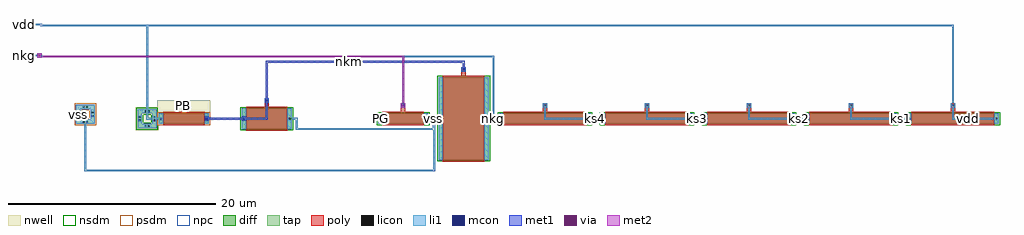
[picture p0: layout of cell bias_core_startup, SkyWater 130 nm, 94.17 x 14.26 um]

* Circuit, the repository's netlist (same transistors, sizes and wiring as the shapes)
* extracted by klt extract --deck sky130

* cell bias_core_startup
* pin PB
* pin PG
* pin ks1
* pin ks2
* pin ks3
* pin ks4
* pin nkg
* pin nkm
* pin vdd
* pin vss
.SUBCKT bias_core_startup PB PG ks1 ks2 ks3 ks4 nkg nkm vdd vss
* device instance $1 r0 *1 -3.42,4 nfet
M$1 vss nkg PG vss nfet L=4U W=1U AS=0.42P AD=0.42P PS=2.84U PD=2.84U
* device instance $2 r0 *1 10.26,4 nfet
M$2 ks4 ks4 nkg vss nfet L=8U W=1U AS=0.42P AD=0.42P PS=2.84U PD=2.84U
* device instance $3 r0 *1 20.1,4 nfet
M$3 ks3 ks3 ks4 vss nfet L=8U W=1U AS=0.42P AD=0.42P PS=2.84U PD=2.84U
* device instance $4 r0 *1 29.94,4 nfet
M$4 ks2 ks2 ks3 vss nfet L=8U W=1U AS=0.42P AD=0.42P PS=2.84U PD=2.84U
* device instance $5 r0 *1 39.78,4 nfet
M$5 ks1 ks1 ks2 vss nfet L=8U W=1U AS=0.42P AD=0.42P PS=2.84U PD=2.84U
* device instance $6 r0 *1 49.62,4 nfet
M$6 vdd vdd ks1 vss nfet L=8U W=1U AS=0.42P AD=0.42P PS=2.84U PD=2.84U
* device instance $7 r0 *1 -16.58,4 nfet
M$7 vss nkm nkm vss nfet L=4U W=2U AS=0.84P AD=0.84P PS=4.84U PD=4.84U
* device instance $8 r0 *1 2.42,4 nfet
M$8 nkg nkm vss vss nfet L=4U W=8U AS=3.36P AD=3.36P PS=16.84U PD=16.84U
* device instance $9 r0 *1 -24.58,4 pfet
M$9 nkm PB vdd vdd pfet L=4U W=1U AS=0.42P AD=0.42P PS=2.84U PD=2.84U
.ENDS bias_core_startup

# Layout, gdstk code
from math import pi, radians
import gdstk
lib = gdstk.Library(unit=1e-6, precision=1e-09)
def R(c, l, rs):  # rectangles x0, y0, x1, y1
    for r in rs: c.add(gdstk.rectangle(r[:2], r[2:], *l))
def A(c, l, x, y, w, h, nx, ny, dx, dy):  # array of equal rectangles
    R(c, l, [(x+i*dx, y+j*dy, x+i*dx+w, y+j*dy+h) for i in range(nx) for j in range(ny)])
def P(c, l, *ps):  # polygons
    for p in ps: c.add(gdstk.Polygon(p, *l))
nwell = (64, 20)
diff = (65, 20)
tap = (65, 44)
poly = (66, 20)
licon = (66, 44)
li1 = (67, 20)
mcon = (67, 44)
met1 = (68, 20)
via = (68, 44)
met2 = (69, 20)
nsdm = (93, 44)
psdm = (94, 20)
npc = (95, 20)

kpd__core = lib.new_cell('kpd__core')
R(kpd__core, diff, [(0,0,4.84,8)])
R(kpd__core, poly, [(0.42,-0.15,4.42,8), (0.42,8,4.42,8.15), (0.42,8,4.42,8.15), (2.21,8.15,2.63,8.97)])
R(kpd__core, licon, [(0.125,3.915,0.295,4.085), (4.545,3.915,4.715,4.085), (2.335,8.675,2.505,8.845)])
R(kpd__core, li1, [(0,0,0.42,8), (4.42,0,4.84,8), (2.21,8.55,2.63,8.97)])
R(kpd__core, nsdm, [(-0.125,-0.125,4.965,8.125)])
R(kpd__core, npc, [(2.235,8.575,2.605,8.945)])

kpd__kpd = lib.new_cell('kpd__kpd')
kpd__kpd.add(gdstk.Reference(kpd__core, (0,0)))

ks4__core = lib.new_cell('ks4__core')
R(ks4__core, diff, [(0,0,8.84,1)])
R(ks4__core, poly, [(0.42,-0.15,8.42,1), (0.42,1,8.42,1.15), (0.42,1,8.42,1.15), (4.21,1.15,4.63,1.97)])
R(ks4__core, licon, [(0.125,0.415,0.295,0.585), (8.545,0.415,8.715,0.585), (4.335,1.675,4.505,1.845)])
R(ks4__core, li1, [(0,0,0.42,1), (8.42,0,8.84,1), (4.21,1.55,4.63,1.97)])
R(ks4__core, nsdm, [(-0.125,-0.125,8.965,1.125)])
R(ks4__core, npc, [(4.235,1.575,4.605,1.945)])

ks4__ks4 = lib.new_cell('ks4__ks4')
ks4__ks4.add(gdstk.Reference(ks4__core, (0,0)))

ks3__core = lib.new_cell('ks3__core')
R(ks3__core, diff, [(0,0,8.84,1)])
R(ks3__core, poly, [(0.42,-0.15,8.42,1), (0.42,1,8.42,1.15), (0.42,1,8.42,1.15), (4.21,1.15,4.63,1.97)])
R(ks3__core, licon, [(0.125,0.415,0.295,0.585), (8.545,0.415,8.715,0.585), (4.335,1.675,4.505,1.845)])
R(ks3__core, li1, [(0,0,0.42,1), (8.42,0,8.84,1), (4.21,1.55,4.63,1.97)])
R(ks3__core, nsdm, [(-0.125,-0.125,8.965,1.125)])
R(ks3__core, npc, [(4.235,1.575,4.605,1.945)])

ks3__ks3 = lib.new_cell('ks3__ks3')
ks3__ks3.add(gdstk.Reference(ks3__core, (0,0)))

ks2__core = lib.new_cell('ks2__core')
R(ks2__core, diff, [(0,0,8.84,1)])
R(ks2__core, poly, [(0.42,-0.15,8.42,1), (0.42,1,8.42,1.15), (0.42,1,8.42,1.15), (4.21,1.15,4.63,1.97)])
R(ks2__core, licon, [(0.125,0.415,0.295,0.585), (8.545,0.415,8.715,0.585), (4.335,1.675,4.505,1.845)])
R(ks2__core, li1, [(0,0,0.42,1), (8.42,0,8.84,1), (4.21,1.55,4.63,1.97)])
R(ks2__core, nsdm, [(-0.125,-0.125,8.965,1.125)])
R(ks2__core, npc, [(4.235,1.575,4.605,1.945)])

ks2__ks2 = lib.new_cell('ks2__ks2')
ks2__ks2.add(gdstk.Reference(ks2__core, (0,0)))

ks1__core = lib.new_cell('ks1__core')
R(ks1__core, diff, [(0,0,8.84,1)])
R(ks1__core, poly, [(0.42,-0.15,8.42,1), (0.42,1,8.42,1.15), (0.42,1,8.42,1.15), (4.21,1.15,4.63,1.97)])
R(ks1__core, licon, [(0.125,0.415,0.295,0.585), (8.545,0.415,8.715,0.585), (4.335,1.675,4.505,1.845)])
R(ks1__core, li1, [(0,0,0.42,1), (8.42,0,8.84,1), (4.21,1.55,4.63,1.97)])
R(ks1__core, nsdm, [(-0.125,-0.125,8.965,1.125)])
R(ks1__core, npc, [(4.235,1.575,4.605,1.945)])

ks1__ks1 = lib.new_cell('ks1__ks1')
ks1__ks1.add(gdstk.Reference(ks1__core, (0,0)))

ks0__core = lib.new_cell('ks0__core')
R(ks0__core, diff, [(0,0,8.84,1)])
R(ks0__core, poly, [(0.42,-0.15,8.42,1), (0.42,1,8.42,1.15), (0.42,1,8.42,1.15), (4.21,1.15,4.63,1.97)])
R(ks0__core, licon, [(0.125,0.415,0.295,0.585), (8.545,0.415,8.715,0.585), (4.335,1.675,4.505,1.845)])
R(ks0__core, li1, [(0,0,0.42,1), (8.42,0,8.84,1), (4.21,1.55,4.63,1.97)])
R(ks0__core, nsdm, [(-0.125,-0.125,8.965,1.125)])
R(ks0__core, npc, [(4.235,1.575,4.605,1.945)])

ks0__ks0 = lib.new_cell('ks0__ks0')
ks0__ks0.add(gdstk.Reference(ks0__core, (0,0)))

kick__core = lib.new_cell('kick__core')
R(kick__core, diff, [(0,0,4.84,1)])
R(kick__core, poly, [(0.42,-0.15,4.42,1), (0.42,1,4.42,1.15), (0.42,1,4.42,1.15), (2.21,1.15,2.63,1.97)])
R(kick__core, licon, [(0.125,0.415,0.295,0.585), (4.545,0.415,4.715,0.585), (2.335,1.675,2.505,1.845)])
R(kick__core, li1, [(0,0,0.42,1), (4.42,0,4.84,1), (2.21,1.55,2.63,1.97)])
R(kick__core, nsdm, [(-0.125,-0.125,4.965,1.125)])
R(kick__core, npc, [(2.235,1.575,2.605,1.945)])

kick__kick = lib.new_cell('kick__kick')
kick__kick.add(gdstk.Reference(kick__core, (0,0)))

kan__core = lib.new_cell('kan__core')
R(kan__core, diff, [(0,0,4.84,2)])
R(kan__core, poly, [(0.42,-0.15,4.42,2), (0.42,2,4.42,2.15), (0.42,2,4.42,2.15), (2.21,2.15,2.63,2.97)])
R(kan__core, licon, [(0.125,0.915,0.295,1.085), (4.545,0.915,4.715,1.085), (2.335,2.675,2.505,2.845)])
R(kan__core, li1, [(0,0,0.42,2), (4.42,0,4.84,2), (2.21,2.55,2.63,2.97)])
R(kan__core, nsdm, [(-0.125,-0.125,4.965,2.125)])
R(kan__core, npc, [(2.235,2.575,2.605,2.945)])

kan__kan = lib.new_cell('kan__kan')
kan__kan.add(gdstk.Reference(kan__core, (0,0)))

ka__core = lib.new_cell('ka__core')
R(ka__core, nwell, [(-0.15,-0.15,4.99,2.27)])
R(ka__core, diff, [(0,0,4.84,1)])
R(ka__core, poly, [(0.42,-0.15,4.42,1), (0.42,1,4.42,1.15), (0.42,1,4.42,1.15), (2.21,1.15,2.63,1.97)])
R(ka__core, licon, [(0.125,0.415,0.295,0.585), (4.545,0.415,4.715,0.585), (2.335,1.675,2.505,1.845)])
R(ka__core, li1, [(0,0,0.42,1), (4.42,0,4.84,1), (2.21,1.55,2.63,1.97)])
R(ka__core, psdm, [(-0.125,-0.125,4.965,1.125)])
R(ka__core, npc, [(2.235,1.575,2.605,1.945)])

ka__ka = lib.new_cell('ka__ka')
ka__ka.add(gdstk.Reference(ka__core, (0,0)))

nwell_tap__core = lib.new_cell('nwell_tap__core')
R(nwell_tap__core, nwell, [(-0.2,-0.2,2.04,2.04)])
P(nwell_tap__core, tap, [(0,0),(0,1.42),(0.42,1.42),(0.42,0.42),(1.42,0.42),(1.42,1.42),(0,1.42),(0,1.84),(1.84,1.84),(1.84,0)])
R(nwell_tap__core, licon, [(0.67,0.125,0.84,0.295), (1,0.125,1.17,0.295), (0.125,0.67,0.295,0.84), (1.545,0.67,1.715,0.84), (0.125,1,0.295,1.17), (1.545,1,1.715,1.17), (0.67,1.545,0.84,1.715), (1,1.545,1.17,1.715)])
P(nwell_tap__core, li1, [(0,0),(0,1.42),(0.42,1.42),(0.42,0.42),(1.42,0.42),(1.42,1.42),(0,1.42),(0,1.84),(1.84,1.84),(1.84,0)])
P(nwell_tap__core, nsdm, [(-0.125,-0.125),(-0.125,1.295),(0.545,1.295),(0.545,0.545),(1.295,0.545),(1.295,1.295),(-0.125,1.295),(-0.125,1.965),(1.965,1.965),(1.965,-0.125)])

nwell_tap__nwell_tap = lib.new_cell('nwell_tap__nwell_tap')
nwell_tap__nwell_tap.add(gdstk.Reference(nwell_tap__core, (0,0)))

psub_tap__core = lib.new_cell('psub_tap__core')
P(psub_tap__core, tap, [(0,0),(0,1.42),(0.42,1.42),(0.42,0.42),(1.42,0.42),(1.42,1.42),(0,1.42),(0,1.84),(1.84,1.84),(1.84,0)])
R(psub_tap__core, licon, [(0.67,0.125,0.84,0.295), (1,0.125,1.17,0.295), (0.125,0.67,0.295,0.84), (1.545,0.67,1.715,0.84), (0.125,1,0.295,1.17), (1.545,1,1.715,1.17), (0.67,1.545,0.84,1.715), (1,1.545,1.17,1.715)])
P(psub_tap__core, li1, [(0,0),(0,1.42),(0.42,1.42),(0.42,0.42),(1.42,0.42),(1.42,1.42),(0,1.42),(0,1.84),(1.84,1.84),(1.84,0)])
P(psub_tap__core, psdm, [(-0.125,-0.125),(-0.125,1.295),(0.545,1.295),(0.545,0.545),(1.295,0.545),(1.295,1.295),(-0.125,1.295),(-0.125,1.965),(1.965,1.965),(1.965,-0.125)])

psub_tap__psub_tap = lib.new_cell('psub_tap__psub_tap')
psub_tap__psub_tap.add(gdstk.Reference(psub_tap__core, (0,0)))

stub_vdd__promo_stub = lib.new_cell('stub_vdd__promo_stub')
R(stub_vdd__promo_stub, li1, [(0,0,1.5,0.17)])

stub_nkg__promo_stub = lib.new_cell('stub_nkg__promo_stub')
R(stub_nkg__promo_stub, li1, [(0,0,1.5,0.17)])

bias_core_startup = lib.new_cell('bias_core_startup')
A(bias_core_startup, li1, 10.05, 5.26, 0.42, 0.17, 5, 1, 9.84, 0)
R(bias_core_startup, li1, [(-34.29,3.54,-33.87,3.71), (-22.58,3.79,-22.16,4.21), (-19,3.79,-18.58,4.21), (-19,3.79,-18.58,4.21), (-28.33,4.71,-27.91,4.88), (-28.33,4.71,-27.91,4.88), (-28.33,4.71,-27.91,4.88), (-3.63,5.05,-3.21,5.47), (-3.63,5.26,-3.21,5.43), (49.41,5.26,49.83,5.43), (-16.79,5.55,-16.37,5.97), (-16.79,5.55,-16.37,5.97), (2.21,8.55,2.63,8.97), (-38.71,9.875,-38.29,10.295)])
R(bias_core_startup, mcon, [(-22.455,3.915,-22.285,4.085), (-18.875,3.915,-18.705,4.085), (-18.875,3.915,-18.705,4.085), (-3.505,5.175,-3.335,5.345), (-16.665,5.675,-16.495,5.845), (-16.665,5.675,-16.495,5.845), (2.335,8.675,2.505,8.845), (-38.585,10,-38.415,10.17)])
R(bias_core_startup, met1, [(-22.58,3.79,-22.16,4.21), (-19,3.79,-18.58,4.21), (-19,3.79,-18.58,4.21), (-3.63,5.05,-3.21,5.47), (-3.63,5.05,-3.21,5.47), (-16.79,5.55,-16.37,5.97), (-16.79,5.55,-16.37,5.97), (2.21,8.55,2.63,8.97), (-38.71,9.875,-38.29,10.295), (-38.71,9.875,-38.29,10.295)])
R(bias_core_startup, via, [(-3.495,5.185,-3.345,5.335), (-38.575,10.01,-38.425,10.16)])
R(bias_core_startup, met2, [(-3.63,5.05,-3.21,5.47), (-38.71,9.875,-38.29,10.295)])
bias_core_startup.add(gdstk.FlexPath([(53.83,4),(49.62,4),(49.62,5.26)], 0.17, ends="flush", simple_path=True, layer=67, datatype=20))  # li1
bias_core_startup.add(gdstk.FlexPath([(-26.79,4),(-27.41,4)], 0.17, ends="flush", simple_path=True, layer=67, datatype=20))  # li1
bias_core_startup.add(gdstk.FlexPath([(-28.12,4.71),(-28.12,13),(49.62,13),(49.62,5.26)], 0.17, ends="flush", simple_path=True, layer=67, datatype=20))  # li1
bias_core_startup.add(gdstk.FlexPath([(-28.12,4.71),(-28.12,13),(-38.33,13),(-38.33,13.085),(-38.5,13.085)], 0.17, ends="flush", simple_path=True, layer=67, datatype=20))  # li1
bias_core_startup.add(gdstk.FlexPath([(-27.41,4),(-28.12,4),(-28.12,4.71)], 0.17, ends="flush", simple_path=True, layer=67, datatype=20))  # li1
bias_core_startup.add(gdstk.FlexPath([(45.41,4),(43.99,4)], 0.17, ends="flush", simple_path=True, layer=67, datatype=20))  # li1
bias_core_startup.add(gdstk.FlexPath([(43.99,4),(39.78,4),(39.78,5.26)], 0.17, ends="flush", simple_path=True, layer=67, datatype=20))  # li1
bias_core_startup.add(gdstk.FlexPath([(35.57,4),(34.15,4)], 0.17, ends="flush", simple_path=True, layer=67, datatype=20))  # li1
bias_core_startup.add(gdstk.FlexPath([(34.15,4),(29.94,4),(29.94,5.26)], 0.17, ends="flush", simple_path=True, layer=67, datatype=20))  # li1
bias_core_startup.add(gdstk.FlexPath([(25.73,4),(24.31,4)], 0.17, ends="flush", simple_path=True, layer=67, datatype=20))  # li1
bias_core_startup.add(gdstk.FlexPath([(24.31,4),(20.1,4),(20.1,5.26)], 0.17, ends="flush", simple_path=True, layer=67, datatype=20))  # li1
bias_core_startup.add(gdstk.FlexPath([(15.89,4),(14.47,4)], 0.17, ends="flush", simple_path=True, layer=67, datatype=20))  # li1
bias_core_startup.add(gdstk.FlexPath([(14.47,4),(10.26,4),(10.26,5.26)], 0.17, ends="flush", simple_path=True, layer=67, datatype=20))  # li1
bias_core_startup.add(gdstk.FlexPath([(6.05,4),(4.63,4)], 0.17, ends="flush", simple_path=True, layer=67, datatype=20))  # li1
bias_core_startup.add(gdstk.FlexPath([(-3.42,5.26),(-3.42,10),(5.3,10),(5.3,4),(4.63,4)], 0.17, ends="flush", simple_path=True, layer=67, datatype=20))  # li1
bias_core_startup.add(gdstk.FlexPath([(-1.21,4),(0.21,4)], 0.17, ends="flush", simple_path=True, layer=67, datatype=20))  # li1
bias_core_startup.add(gdstk.FlexPath([(-34.08,3.71),(-34.08,-1),(-0.42,-1),(-0.42,4),(0.21,4)], 0.17, ends="flush", simple_path=True, layer=67, datatype=20))  # li1
bias_core_startup.add(gdstk.FlexPath([(0.21,4),(-0.465,4),(-0.465,3.01),(-13.695,3.01),(-13.695,4),(-14.37,4)], 0.17, ends="flush", simple_path=True, layer=67, datatype=20))  # li1
bias_core_startup.add(gdstk.FlexPath([(-3.42,5.26),(-3.42,10),(-38.33,10),(-38.33,10.085),(-38.5,10.085)], 0.17, ends="flush", simple_path=True, layer=69, datatype=20))  # met2
bias_core_startup.add(gdstk.FlexPath([(2.42,8.76),(2.42,9.5),(-16.58,9.5),(-16.58,5.76)], 0.17, ends="flush", simple_path=True, layer=68, datatype=20))  # met1
bias_core_startup.add(gdstk.FlexPath([(-18.79,4),(-16.58,4),(-16.58,5.76)], 0.17, ends="flush", simple_path=True, layer=68, datatype=20))  # met1
bias_core_startup.add(gdstk.FlexPath([(-18.79,4),(-22.37,4)], 0.17, ends="flush", simple_path=True, layer=68, datatype=20))  # met1
bias_core_startup.add(gdstk.Reference(kpd__kpd, (0,0)))
bias_core_startup.add(gdstk.Reference(ks4__ks4, (5.84,3.5)))
bias_core_startup.add(gdstk.Reference(ks3__ks3, (15.68,3.5)))
bias_core_startup.add(gdstk.Reference(ks2__ks2, (25.52,3.5)))
bias_core_startup.add(gdstk.Reference(ks1__ks1, (35.36,3.5)))
bias_core_startup.add(gdstk.Reference(ks0__ks0, (45.2,3.5)))
bias_core_startup.add(gdstk.Reference(kick__kick, (-1,3.5), rotation=pi, x_reflection=True))
bias_core_startup.add(gdstk.Reference(kan__kan, (-14.16,3), rotation=pi, x_reflection=True))
bias_core_startup.add(gdstk.Reference(ka__ka, (-27,3.5)))
bias_core_startup.add(gdstk.Reference(nwell_tap__nwell_tap, (-29.04,3.08)))
bias_core_startup.add(gdstk.Reference(psub_tap__psub_tap, (-35,3.5)))
bias_core_startup.add(gdstk.Reference(stub_vdd__promo_stub, (-40,13)))
bias_core_startup.add(gdstk.Reference(stub_nkg__promo_stub, (-40,10)))
bias_core_startup.add(gdstk.Label('vdd', (51.095,4), layer=67, texttype=5))
bias_core_startup.add(gdstk.Label('ks1', (44.7,4), layer=67, texttype=5))
bias_core_startup.add(gdstk.Label('ks2', (34.86,4), layer=67, texttype=5))
bias_core_startup.add(gdstk.Label('ks3', (25.02,4), layer=67, texttype=5))
bias_core_startup.add(gdstk.Label('ks4', (15.18,4), layer=67, texttype=5))
bias_core_startup.add(gdstk.Label('nkg', (5.34,4), layer=67, texttype=5))
bias_core_startup.add(gdstk.Label('vss', (-0.5,4), layer=67, texttype=5))
bias_core_startup.add(gdstk.Label('PB', (-24.58,5.26), layer=67, texttype=5))
bias_core_startup.add(gdstk.Label('PG', (-5.63,4), layer=67, texttype=5))
bias_core_startup.add(gdstk.Label('vdd', (-40,13.085), layer=67, texttype=5))
bias_core_startup.add(gdstk.Label('nkg', (-40,10.085), layer=67, texttype=5))
bias_core_startup.add(gdstk.Label('vss', (-34.79,4.42), layer=67, texttype=5))
bias_core_startup.add(gdstk.Label('nkm', (-8.58,9.5), layer=68, texttype=5))

lib.write_gds('bias_core_startup.gds')
